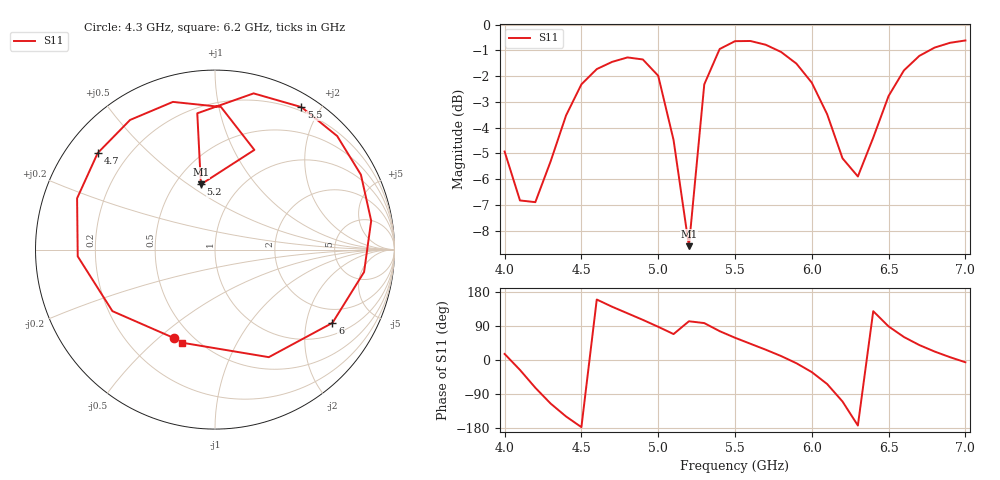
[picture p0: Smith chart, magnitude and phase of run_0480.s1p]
! Touchstone file exported from HFSS 2024.2.0
!  File:  C:/Users/wsak9/Desktop/Sim Fast/Widenad Patch/WP_AI_V1_sweep.aedt
!  Generated:  12:03:19 PM Oct 14, 2026
!  Design:  A1_model
!  Project:  WP_AI_V1_sweep
!  Setup:  Setup1
!  Solution:  Sweep
! Variables:
!  Air_gap = 3.47mm
!  Curve_Amp1 = 3.23
!  Curve_len1 = 1
!  Curve_pos = 11.63mm
!  Extra = 7.93mm
!  H_sub = 0.79mm
!  L_Patch = 19.26mm
!  L_Patch1 = 22.53mm
!  Sx = 2.4mm
!  Sy = 3.99mm
!  WS = 0.46mm
!  W_Patch = 19.68mm
!  W_Patch1 = 14.6mm
!Data is not renormalized
# GHz S MA
! Terminal data exported
! Port[1] = 1
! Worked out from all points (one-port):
!   31 points, 4 GHz to 7 GHz, reference per port
!   lowest |S11| = -8.6 dB at 5.2 GHz (marker M1), VSWR 2.18
!   |S11| at or under -10 dB: nowhere
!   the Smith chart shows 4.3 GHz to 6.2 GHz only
!   S11 on the Smith chart (normalised r, x): 4.3 GHz: 0.40, -0.56; 4.7 GHz: 0.09, +0.36; 5.2 GHz: 0.67, +0.56; 5.5 GHz: 0.15, +1.77; 6 GHz: 1.42, -2.86; 6.2 GHz: 0.42, -0.62
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4  0.5673 16.0
4.1  0.456 -26.2
4.2  0.4525 -73.3
4.3  0.5433 -115.1
4.4  0.6664 -149.0
4.5  0.7657 -177.2
4.6  0.8197 159.6
4.7  0.8466 140.5
4.8  0.8636 123.2
4.9  0.8557 105.9
5  0.7957 87.6
5.1  0.5972 68.4
5.2  0.3717 102.2
5.3  0.7658 97.4
5.4  0.8965 76.1
5.5  0.9286 58.7
5.7  0.9138 27.2
5.9  0.8399 -8.6
6  0.7714 -31.9
6.1  0.6701 -63.4
6.2  0.5503 -109.5
6.3  0.5075 -172.9
6.4  0.6035 128.8
6.5  0.7271 88.6
6.6  0.815 60.6
6.7  0.8695 39.5
6.8  0.9024 22.3
7  0.9315 -6.0
